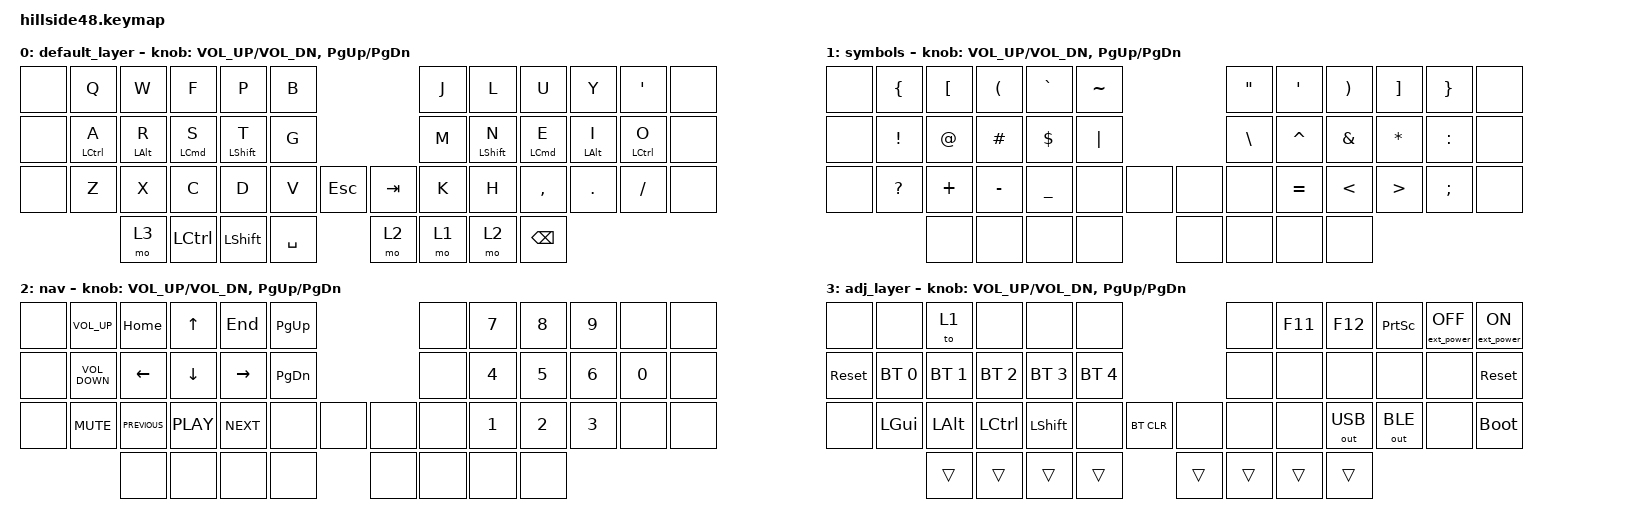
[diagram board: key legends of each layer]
/*
 * Copyright (c) 2021-2022 The ZMK Contributors
 *
 * SPDX-License-Identifier: MIT
 */

#include <behaviors.dtsi>
#include <dt-bindings/zmk/bt.h>
#include <dt-bindings/zmk/ext_power.h>
#include <dt-bindings/zmk/keys.h>
#include <dt-bindings/zmk/outputs.h>

#define KEYS_L 0 1 2 3 4 10 11 12 13 14 15 22 23 24 25 26 27  // Left-hand keys.
#define KEYS_R 5 6 7 8 9 16 17 18 19 20 21 28 29 30 31 32 33  // Right-hand keys.
#define THUMBS 34 35 36 37 38 39 40 41                        // Thumb keys.

/* Global defaults */

#define COMBO_TERM 30
#define TAPPING_TERM 250
#define QUICK_TAP_TERM 250
#define REQUIRE_PRIOR_IDLE 175

&mt {
    tapping-term-ms = <TAPPING_TERM>;
    flavor = "tap-preferred";
    quick-tap-ms = <QUICK_TAP_TERM>;
    require-prior-idle-ms = <REQUIRE_PRIOR_IDLE>;
};

&lt {
    tapping-term-ms = <TAPPING_TERM>;
    flavor = "tap-preferred";
    quick-tap-ms = <QUICK_TAP_TERM>;
};

/* Left-hand HRMs. */

/ {
    behaviors {
        hrml: hrml {
            compatible = "zmk,behavior-hold-tap";
            #binding-cells = <2>;
            flavor = "balanced";
            tapping-term-ms = <280>;
            quick-tap-ms = <175>;
            require-prior-idle-ms = <150>;
            bindings = <&kp>, <&kp>;

            hold-trigger-key-positions = <KEYS_R THUMBS 5 6 7 8 9 17 18 19 20 21 29 30 31 32 33 40 41>;
            hold-trigger-on-release;
        };
    };
};

/* Right-hand HRMs. */

/ {
    behaviors {
        hrmr: hrmr {
            compatible = "zmk,behavior-hold-tap";
            #binding-cells = <2>;
            flavor = "balanced";
            tapping-term-ms = <280>;
            quick-tap-ms = <175>;
            require-prior-idle-ms = <150>;
            bindings = <&kp>, <&kp>;

            hold-trigger-key-positions = <KEYS_L THUMBS 26 14 4 3 2 1 0 12 11 10 13 25 24 23 22 37 38 39>;
            hold-trigger-on-release;
        };
    };
};

/* Mod Morphs (changes to 'shift + key' behavior). */

/ {
    behaviors {
        dot_colon: dot_colon {
            compatible = "zmk,behavior-mod-morph";
            label = "DOT_COLON";
            bindings = <&kp PERIOD>, <&kp COLON>;

            #binding-cells = <0>;
            mods = <(MOD_LSFT)>;
        };

        semi_comma: semi_comma {
            compatible = "zmk,behavior-mod-morph";
            label = "SEMI_COMMA";
            bindings = <&kp COMMA>, <&kp SEMICOLON>;

            #binding-cells = <0>;
            mods = <(MOD_LSFT)>;
        };

        question_exclamation: question_exclamation {
            compatible = "zmk,behavior-mod-morph";
            label = "QUESTION_EXCLAMATION";
            bindings = <&kp QMARK>, <&kp EXCL>;

            #binding-cells = <0>;
            mods = <(MOD_LSFT)>;
        };
    };
};

/ {
    combos {
        compatible = "zmk,combos";

        Grave {
            bindings = <&kp GRAVE>;
            key-positions = <1 13>;
            layers = <0 2>;
        };

        forward_slash {
            bindings = <&kp SLASH>;
            key-positions = <9 21>;
            layers = <0 2>;
        };

        at {
            bindings = <&kp AT>;
            key-positions = <2 14>;
            layers = <0 2>;
        };

        hash {
            bindings = <&kp HASH>;
            key-positions = <3 15>;
            layers = <0 2>;
        };

        dollar {
            bindings = <&kp DOLLAR>;
            key-positions = <16 4>;
            layers = <0 2>;
        };

        percent {
            bindings = <&kp PERCENT>;
            key-positions = <5 17>;
            layers = <0 2>;
        };

        caret {
            bindings = <&kp CARET>;
            key-positions = <13 25>;
            layers = <0 2>;
        };

        ampersand {
            bindings = <&kp AMPERSAND>;
            key-positions = <26 14>;
            layers = <0 2>;
        };

        asterisk {
            bindings = <&kp ASTERISK>;
            key-positions = <27 15>;
            layers = <0 2>;
        };

        Lparen {
            bindings = <&kp LEFT_PARENTHESIS>;
            key-positions = <2 3>;
            layers = <0 2>;
            require-prior-idle-ms = <175>;
        };

        Rparen {
            bindings = <&kp RIGHT_PARENTHESIS>;
            key-positions = <3 4>;
            layers = <0 2>;
            require-prior-idle-ms = <175>;
        };

        minus {
            bindings = <&kp MINUS>;
            key-positions = <16 28>;
            layers = <0 2>;
        };

        underline {
            bindings = <&kp UNDERSCORE>;
            key-positions = <20 8>;
            layers = <0 2>;
        };

        equal {
            bindings = <&kp EQUAL>;
            key-positions = <20 34>;
            layers = <0 2>;
        };

        Lbracket {
            bindings = <&kp LEFT_BRACKET>;
            key-positions = <7 8>;
            layers = <0 2>;
            require-prior-idle-ms = <175>;
        };

        Rbracket {
            bindings = <&kp RIGHT_BRACKET>;
            key-positions = <8 9>;
            layers = <0 2>;
            require-prior-idle-ms = <175>;
        };

        lesser_than {
            bindings = <&kp LESS_THAN>;
            key-positions = <33 19>;
            layers = <0 2>;
        };

        greater_than {
            bindings = <&kp GREATER_THAN>;
            key-positions = <21 35>;
            layers = <0 2>;
        };

        plus {
            bindings = <&kp PLUS>;
            key-positions = <29 17>;
            layers = <0 2>;
        };

        tab {
            bindings = <&kp TAB>;
            key-positions = <26 27>;
            layers = <0 2>;
        };

        esc {
            bindings = <&kp ESC>;
            key-positions = <27 28>;
            layers = <0 2>;
        };

        enter {
            bindings = <&kp ENTER>;
            key-positions = <33 34>;
            layers = <0 2>;
        };

        bkspc {
            bindings = <&kp BACKSPACE>;
            key-positions = <34 35>;
            layers = <0 2>;
            require-prior-idle-ms = <75>;
        };

        backslash {
            bindings = <&kp BACKSLASH>;
            key-positions = <7 19>;
            layers = <0 2>;
        };

        pipe {
            bindings = <&kp PIPE>;
            key-positions = <36 22>;
        };

        double_quote {
            bindings = <&kp DOUBLE_QUOTES>;
            key-positions = <22 10>;
        };
    };

    keymap {
        compatible = "zmk,keymap";

        default_layer {
            bindings = <
&none  &kp Q               &kp W           &kp F               &kp P             &kp B                                             &kp J          &kp L             &kp U               &kp Y           &kp SINGLE_QUOTE    &none
&none  &mt LEFT_CONTROL A  &mt LEFT_ALT R  &mt LEFT_COMMAND S  &mt LEFT_SHIFT T  &kp G                                             &kp M          &mt LEFT_SHIFT N  &mt LEFT_COMMAND E  &mt LEFT_ALT I  &mt LEFT_CONTROL O  &none
&none  &kp Z               &kp X           &kp C               &kp D             &kp V           &kp ESC                  &kp TAB  &kp K          &kp H             &kp COMMA           &kp DOT         &kp SLASH           &none
                           &mo 3                               &kp LCTRL         &kp LEFT_SHIFT  &kp SPACE  &mo 2  &mo 1  &mo 2    &kp BACKSPACE
            >;

            sensor-bindings = <&inc_dec_kp C_VOL_UP C_VOL_DN &inc_dec_kp PG_UP PG_DN>;
        };

        symbols {
            bindings = <
&none  &kp LEFT_BRACE  &kp LEFT_BRACKET  &kp LEFT_PARENTHESIS  &kp GRAVE   &kp TILDE                              &kp DOUBLE_QUOTES  &kp SINGLE_QUOTE  &kp RIGHT_PARENTHESIS  &kp RIGHT_BRACKET  &kp RIGHT_BRACE  &none
&none  &kp EXCL        &kp AT            &kp POUND             &kp DOLLAR  &kp PIPE                               &kp BACKSLASH      &kp CARET         &kp AMPS               &kp ASTERISK       &kp COLON        &none
&none  &kp QUESTION    &kp PLUS          &kp MINUS             &kp UNDER   &none      &none                &none  &none              &kp EQUAL         &kp LESS_THAN          &kp GREATER_THAN   &kp SEMI         &none
                       &none                                   &none       &none      &none  &none  &none  &none  &none
            >;

            sensor-bindings = <&inc_dec_kp C_VOL_UP C_VOL_DN &inc_dec_kp PG_UP PG_DN>;
        };

        nav {
            bindings = <
&none  &kp C_VOLUME_UP    &kp HOME        &kp UP_ARROW  &kp END     &kp PAGE_UP                                &none  &kp NUMBER_7  &kp N8        &kp NUMBER_9  &none   &none
&none  &kp C_VOLUME_DOWN  &kp LEFT        &kp DOWN      &kp RIGHT   &kp PAGE_DOWN                              &none  &kp NUMBER_4  &kp NUMBER_5  &kp NUMBER_6  &kp N0  &none
&none  &kp K_MUTE         &kp C_PREVIOUS  &kp C_PLAY    &kp C_NEXT  &none          &none                &none  &none  &kp NUMBER_1  &kp NUMBER_2  &kp NUMBER_3  &none   &none
                          &none                         &none       &none          &none  &none  &none  &none  &none
            >;

            sensor-bindings = <&inc_dec_kp C_VOL_UP C_VOL_DN &inc_dec_kp PG_UP PG_DN>;
        };

        adj_layer {
            bindings = <
&none       &none         &to 1         &none         &none         &none                                             &none   &kp F11  &kp F12       &kp PRINTSCREEN  &ext_power EP_OFF  &ext_power EP_ON
&sys_reset  &bt BT_SEL 0  &bt BT_SEL 1  &bt BT_SEL 2  &bt BT_SEL 3  &bt BT_SEL 4                                      &none   &none    &none         &none            &none              &sys_reset
&none       &kp LGUI      &kp LALT      &kp LCTRL     &kp LSHIFT    &none         &bt BT_CLR                  &none   &none   &none    &out OUT_USB  &out OUT_BLE     &none              &bootloader
                          &trans                      &trans        &trans        &trans      &trans  &trans  &trans  &trans
            >;

            sensor-bindings = <&inc_dec_kp C_VOL_UP C_VOL_DN &inc_dec_kp PG_UP PG_DN>;
        };
    };
};
